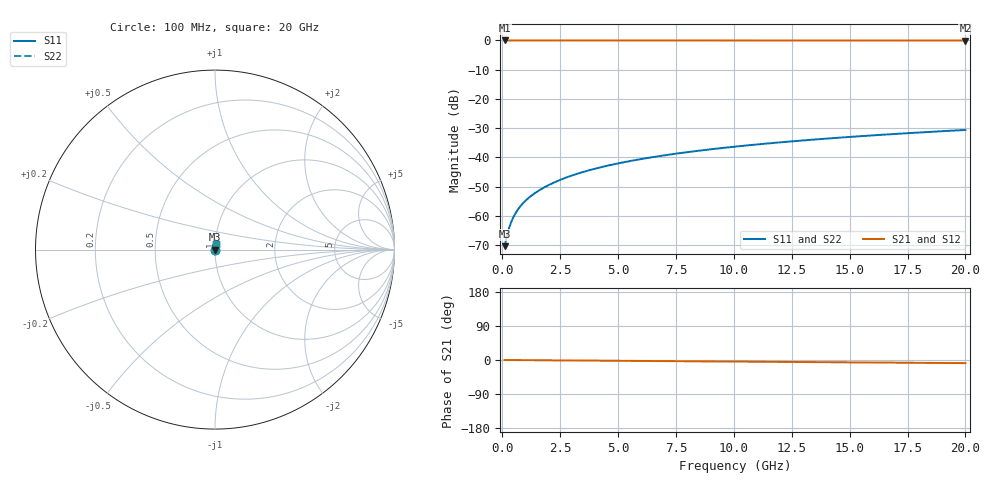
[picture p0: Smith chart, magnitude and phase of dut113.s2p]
! Touchstone file exported from HFSS 2026.1.0
!  File:  C:/ffzhzh/LocalFiles/Ansys_Project_Files/temp_train_TSV_113_1782989755_40604.aedt
!  Generated:  06:57:53 PM Jul  2, 2026
!  Design:  TSV
!  Project:  temp_train_TSV_113_1782989755_40604
! Variables:
!  h_bsmrdl = 2um
!  h_ox = 20um
!  h_rdl = 5um
!  h_sub = 82.38um
!  h_tmrdl = 5um
!  h_tsv = 82.38um
!  h_via = 3um
!  l_bsmrdl = 300um
!  l_sub = 413.98um
!  l_tmrdl = 200um
!  m_sub = 200um
!  pitch = 36.83um
!  r_tsv = 6.99um
!  s_tmrdl = 10um
!  w_bsmrdl = 18um
!  w_sub = 500um
!  w_tmrdl = 12um
!  x_tsv_center1 = 206um
!  x_tsv_center2 = 524um
!  x_tsv_center3 = 736um
!  x_tsv_center4 = 1054um
!  x_tsv_center5 = 1266um
!  x_tsv_center6 = 1584um
# GHz S MA R 50.000000
! Terminal data exported
! Port[1] = TSV1_1_T1
! Port[2] = TSV1_1_T2
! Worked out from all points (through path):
!   200 points, 100 MHz to 20 GHz, reference 50 ohm
!   highest |S21| = 0.00 dB at 100 MHz (marker M1); lowest = 0.0 dB at 20 GHz (marker M2)
!   group delay of S21, straight-line fit = 1.15 ps
!   lowest |S11| = -70.4 dB at 100 MHz (marker M3), VSWR 1.00, Z = 50 + j0.0194 ohm
!   |S11| at or under -10 dB: start of sweep to end of sweep
!   |S22| runs from -70.4 to -30.6 dB; largest |S21 - S12| = 5e-15
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0.1  0.0003011 40.1  0.9998 -0.0  0.9998 -0.0  0.0003011 40.1
! Gamma 0 0 0 0
! Port Impedance 50 0 50 0
0.2  0.0004551 57.9  0.9998 -0.1  0.9998 -0.1  0.0004551 57.9
0.3  0.0006289 65.6  0.9997 -0.1  0.9997 -0.1  0.0006289 65.6
0.4  0.0008056 69.5  0.9997 -0.2  0.9997 -0.2  0.0008056 69.5
0.5  0.0009802 71.7  0.9997 -0.2  0.9997 -0.2  0.0009802 71.7
0.6  0.001151 73.2  0.9997 -0.3  0.9997 -0.3  0.001151 73.2
0.7  0.001318 74.2  0.9996 -0.3  0.9996 -0.3  0.001318 74.2
0.8  0.001482 75.0  0.9996 -0.3  0.9996 -0.3  0.001482 75.0
1  0.001802 76.2  0.9996 -0.4  0.9996 -0.4  0.001802 76.2
1.4  0.002425 77.9  0.9995 -0.6  0.9995 -0.6  0.002425 77.9
1.7  0.002886 78.8  0.9995 -0.7  0.9995 -0.7  0.002886 78.8
2  0.003345 79.5  0.9994 -0.8  0.9994 -0.8  0.003345 79.5
2.7  0.004413 80.6  0.9994 -1.1  0.9994 -1.1  0.004413 80.6
3.5  0.005624 81.2  0.9993 -1.5  0.9993 -1.5  0.005624 81.2
4.2  0.006675 81.5  0.9992 -1.8  0.9992 -1.8  0.006675 81.5
5  0.007866 81.6  0.9991 -2.1  0.9991 -2.1  0.007866 81.6
6.8  0.01051 81.6  0.9989 -2.8  0.9989 -2.8  0.01051 81.6
8.3  0.01269 81.5  0.9988 -3.5  0.9988 -3.5  0.01269 81.5
10.1  0.0153 81.2  0.9987 -4.2  0.9987 -4.2  0.0153 81.2
13.4  0.02003 80.4  0.9984 -5.6  0.9984 -5.6  0.02003 80.4
16.7  0.02473 79.5  0.9981 -6.9  0.9981 -6.9  0.02473 79.4
20  0.02938 78.3  0.9978 -8.3  0.9978 -8.3  0.02938 78.3
